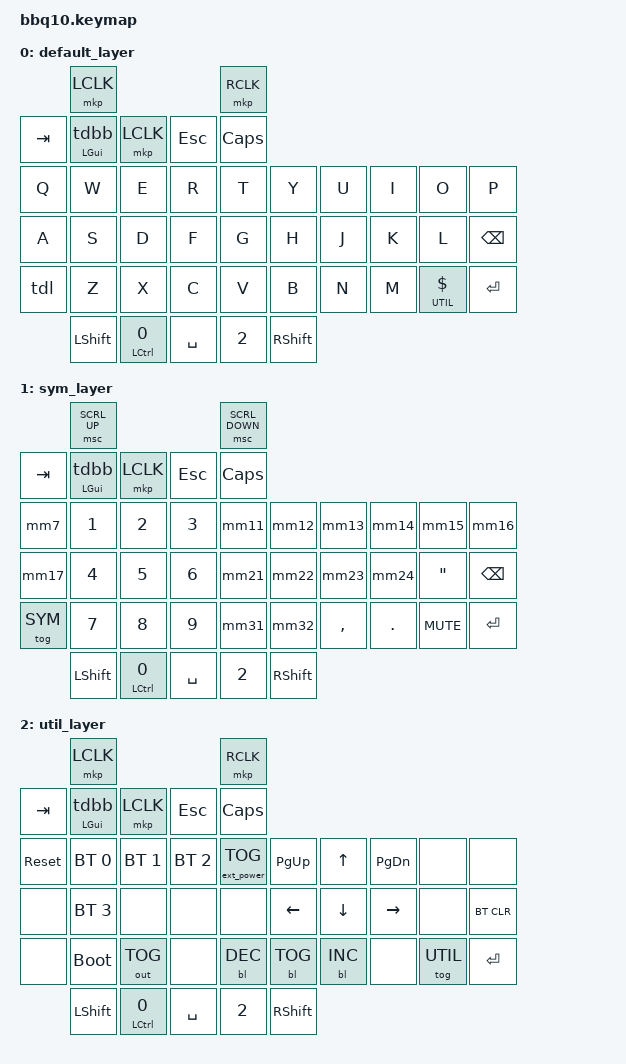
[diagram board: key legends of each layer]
/*
 * Generated by BBQ10 configurator
 */

#include <behaviors.dtsi>
#include <dt-bindings/zmk/keys.h>
#include <dt-bindings/zmk/bt.h>
#include <dt-bindings/zmk/outputs.h>
#include <dt-bindings/zmk/mouse.h>
#include <dt-bindings/zmk/backlight.h>
#include <dt-bindings/zmk/ext_power.h>
#include <dt-bindings/zmk/trackpad_mode.h>

#define SYM 1
#define UTIL 2

&sl {
    release-after-ms = <2000>;
};

/ {
    behaviors {
        htl: hold_toggle_layer {
            compatible = "zmk,behavior-hold-tap";
            #binding-cells = <2>;
            tapping-term-ms = <500>;
            bindings = <&tog &kp>;
        };
        tdl: tap_dance_layer {
            compatible = "zmk,behavior-tap-dance";
            #binding-cells = <0>;
            tapping-term-ms = <400>;
            bindings = <&sl SYM>, <&tog SYM>;
        };
        tdbb: tap_dance_trackpad {
            compatible = "zmk,behavior-tap-dance";
            #binding-cells = <0>;
            tapping-term-ms = <350>;
            bindings = <&tp_mode TP_TOG_SCROLL>, <&tp_mode TP_TOG_ARROW>;
        };
        htbb: hold_tap_blackberry {
            compatible = "zmk,behavior-hold-tap";
            #binding-cells = <2>;
            flavor = "hold-preferred";
            tapping-term-ms = <200>;
            quick-tap-ms = <350>;
            bindings = <&kp>, <&tdbb>;
        };
        mm7: mod_morph_7 {
            compatible = "zmk,behavior-mod-morph";
            #binding-cells = <0>;
            bindings = <&kp HASH>, <&kp GRAVE>;
            mods = <(MOD_LSFT|MOD_RSFT)>;
            keep-mods = <0>;
        };
        mm11: mod_morph_11 {
            compatible = "zmk,behavior-mod-morph";
            #binding-cells = <0>;
            bindings = <&kp LPAR>, <&kp LBKT>;
            mods = <(MOD_LSFT|MOD_RSFT)>;
            keep-mods = <0>;
        };
        mm12: mod_morph_12 {
            compatible = "zmk,behavior-mod-morph";
            #binding-cells = <0>;
            bindings = <&kp RPAR>, <&kp RBKT>;
            mods = <(MOD_LSFT|MOD_RSFT)>;
            keep-mods = <0>;
        };
        mm13: mod_morph_13 {
            compatible = "zmk,behavior-mod-morph";
            #binding-cells = <0>;
            bindings = <&kp UNDER>, <&kp LBRC>;
            mods = <(MOD_LSFT|MOD_RSFT)>;
            keep-mods = <0>;
        };
        mm14: mod_morph_14 {
            compatible = "zmk,behavior-mod-morph";
            #binding-cells = <0>;
            bindings = <&kp MINUS>, <&kp TILDE>;
            mods = <(MOD_LSFT|MOD_RSFT)>;
            keep-mods = <0>;
        };
        mm15: mod_morph_15 {
            compatible = "zmk,behavior-mod-morph";
            #binding-cells = <0>;
            bindings = <&kp PLUS>, <&kp EQUAL>;
            mods = <(MOD_LSFT|MOD_RSFT)>;
            keep-mods = <0>;
        };
        mm16: mod_morph_16 {
            compatible = "zmk,behavior-mod-morph";
            #binding-cells = <0>;
            bindings = <&kp AT>, <&kp RBRC>;
            mods = <(MOD_LSFT|MOD_RSFT)>;
            keep-mods = <0>;
        };
        mm17: mod_morph_17 {
            compatible = "zmk,behavior-mod-morph";
            #binding-cells = <0>;
            bindings = <&kp STAR>, <&kp PRCNT>;
            mods = <(MOD_LSFT|MOD_RSFT)>;
            keep-mods = <0>;
        };
        mm21: mod_morph_21 {
            compatible = "zmk,behavior-mod-morph";
            #binding-cells = <0>;
            bindings = <&kp SLASH>, <&kp BSLH>;
            mods = <(MOD_LSFT|MOD_RSFT)>;
            keep-mods = <0>;
        };
        mm22: mod_morph_22 {
            compatible = "zmk,behavior-mod-morph";
            #binding-cells = <0>;
            bindings = <&kp COLON>, <&kp PIPE>;
            mods = <(MOD_LSFT|MOD_RSFT)>;
            keep-mods = <0>;
        };
        mm23: mod_morph_23 {
            compatible = "zmk,behavior-mod-morph";
            #binding-cells = <0>;
            bindings = <&kp SEMI>, <&kp AMPS>;
            mods = <(MOD_LSFT|MOD_RSFT)>;
            keep-mods = <0>;
        };
        mm24: mod_morph_24 {
            compatible = "zmk,behavior-mod-morph";
            #binding-cells = <0>;
            bindings = <&kp APOS>, <&kp CARET>;
            mods = <(MOD_LSFT|MOD_RSFT)>;
            keep-mods = <0>;
        };
        mm31: mod_morph_31 {
            compatible = "zmk,behavior-mod-morph";
            #binding-cells = <0>;
            bindings = <&kp QMARK>, <&kp LT>;
            mods = <(MOD_LSFT|MOD_RSFT)>;
            keep-mods = <0>;
        };
        mm32: mod_morph_32 {
            compatible = "zmk,behavior-mod-morph";
            #binding-cells = <0>;
            bindings = <&kp EXCL>, <&kp GT>;
            mods = <(MOD_LSFT|MOD_RSFT)>;
            keep-mods = <0>;
        };
    };

    keymap {
        compatible = "zmk,keymap";

        default_layer {
            bindings = <
            //                  TOP LEFT BUTTON                                                                                          TOP RIGHT BUTTON
                                &mkp LCLK                                &mkp RCLK

            //  PHONE                       BLACKBERRY                                TOUCH_PAD                          BACK                             HUNG_UP
                &kp TAB         &htbb LGUI 0    &mkp LCLK       &kp ESC         &kp CLCK    

            //  Q               W           E           R          T                  Y                 U                I               O                P
                &kp Q           &kp W           &kp E           &kp R           &kp T           &kp Y           &kp U           &kp I           &kp O           &kp P       

            //  A               S           D           F          G                  H                 J                K               L                BACKSPACE
                &kp A           &kp S           &kp D           &kp F           &kp G           &kp H           &kp J           &kp K           &kp L           &kp BSPC    

            //  Alt             Z           X           C          V                  B                 N                M               $                ENTER
                &tdl            &kp Z           &kp X           &kp C           &kp V           &kp B           &kp N           &kp M           &htl UTIL DLLR    &kp ENTER   

            //                  LSHIFT            0                                   SPACE                     SYM                      RSHIFT
                                &kp LSHFT       &mt LCTRL N0    &kp SPACE       &kp N2          &kp RSHFT   
            >;
        };


        sym_layer {
            bindings = <
            //                  TOP LEFT BUTTON                                                                                          TOP RIGHT BUTTON
                                &msc SCRL_UP                             &msc SCRL_DOWN

            //  PHONE                       BLACKBERRY                                TOUCH_PAD                          BACK                             HUNG_UP
                &kp TAB         &htbb LGUI 0    &mkp LCLK       &kp ESC         &kp CLCK    

            //  Q               W           E           R          T                  Y                 U                I               O                P
                &mm7            &kp N1          &kp N2          &kp N3          &mm11           &mm12           &mm13           &mm14           &mm15           &mm16       

            //  A               S           D           F          G                  H                 J                K               L                BACKSPACE
                &mm17           &kp N4          &kp N5          &kp N6          &mm21           &mm22           &mm23           &mm24           &kp DQT         &kp BSPC    

            //  Alt             Z           X           C          V                  B                 N                M               $                ENTER
                &tog SYM        &kp N7          &kp N8          &kp N9          &mm31           &mm32           &kp COMMA       &kp DOT         &kp C_MUTE      &kp ENTER   

            //                  LSHIFT            0                                   SPACE                     SYM                      RSHIFT
                                &kp LSHFT       &mt LCTRL N0    &kp SPACE       &kp N2          &kp RSHFT   
            >;
        };


        util_layer {
            bindings = <
            //                  TOP LEFT BUTTON                                                                                          TOP RIGHT BUTTON
                                &mkp LCLK                                &mkp RCLK

            //  PHONE                       BLACKBERRY                                TOUCH_PAD                          BACK                             HUNG_UP
                &kp TAB         &htbb LGUI 0    &mkp LCLK       &kp ESC         &kp CLCK    

            //  Q               W           E           R          T                  Y                 U                I               O                P
                &sys_reset      &bt BT_SEL 0    &bt BT_SEL 1    &bt BT_SEL 2    &ext_power EP_TOG    &kp PG_UP       &kp UP          &kp PG_DN       &none           &none       

            //  A               S           D           F          G                  H                 J                K               L                BACKSPACE
                &none           &bt BT_SEL 3    &none           &none           &none           &kp LEFT        &kp DOWN        &kp RIGHT       &none           &bt BT_CLR  

            //  Alt             Z           X           C          V                  B                 N                M               $                ENTER
                &none           &bootloader     &out OUT_TOG    &none           &bl BL_DEC      &bl BL_TOG      &bl BL_INC      &none           &tog UTIL       &kp ENTER   

            //                  LSHIFT            0                                   SPACE                     SYM                      RSHIFT
                                &kp LSHFT       &mt LCTRL N0    &kp SPACE       &kp N2          &kp RSHFT   
            >;
        };
    };
};
